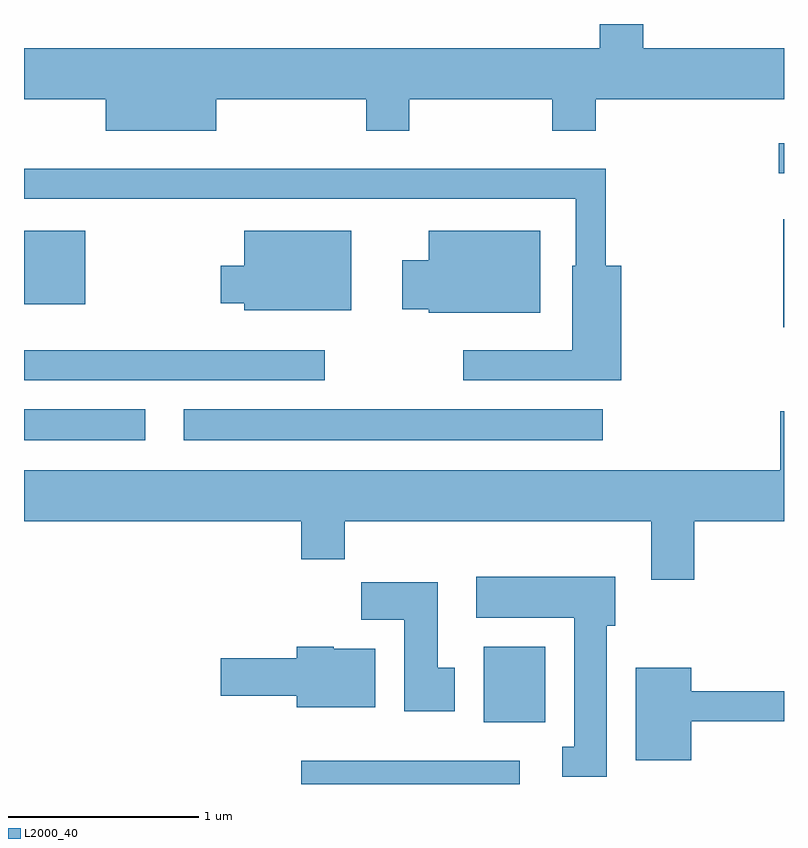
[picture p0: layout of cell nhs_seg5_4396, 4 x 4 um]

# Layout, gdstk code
import gdstk
lib = gdstk.Library(unit=1e-6, precision=1e-09)
def R(c, l, rs):  # rectangles x0, y0, x1, y1
    for r in rs: c.add(gdstk.rectangle(r[:2], r[2:], *l))
def P(c, l, *ps):  # polygons
    for p in ps: c.add(gdstk.Polygon(p, *l))
L2000_40 = (2000, 40)

nhs_seg5_4396 = lib.new_cell('nhs_seg5_4396')
R(nhs_seg5_4396, L2000_40, [(317.071,1462.072,318.219,1462.194), (318.031,1462.396,318.354,1462.794), (315.611,1463.881,316.248,1464.044), (316.453,1463.881,318.658,1464.044), (315.611,1464.196,317.193,1464.354), (319.606,1464.476,319.611,1465.044), (315.611,1464.596,315.934,1464.984), (319.583,1465.286,319.611,1465.444)])
P(nhs_seg5_4396, L2000_40, [(315.611,1465.676),(316.041,1465.676),(316.041,1465.511),(316.624,1465.511),(316.624,1465.676),(317.411,1465.676),(317.411,1465.511),(317.639,1465.511),(317.639,1465.676),(318.391,1465.676),(318.391,1465.511),(318.619,1465.511),(318.619,1465.676),(319.611,1465.676),(319.611,1465.944),(318.869,1465.944),(318.869,1466.072),(318.641,1466.072),(318.641,1465.944),(315.611,1465.944)],
  [(318.754,1464.799),(318.674,1464.799),(318.674,1465.309),(315.611,1465.309),(315.611,1465.151),(318.516,1465.151),(318.516,1464.799),(318.496,1464.799),(318.496,1464.354),(317.923,1464.354),(317.923,1464.196),(318.754,1464.196)],
  [(317.334,1464.984),(316.771,1464.984),(316.771,1464.799),(316.646,1464.799),(316.646,1464.601),(316.771,1464.601),(316.771,1464.566),(317.334,1464.566)],
  [(318.329,1464.984),(317.741,1464.984),(317.741,1464.829),(317.601,1464.829),(317.601,1464.571),(317.741,1464.571),(317.741,1464.551),(318.329,1464.551)],
  [(315.611,1463.456),(317.071,1463.456),(317.071,1463.256),(317.299,1463.256),(317.299,1463.456),(318.911,1463.456),(318.911,1463.146),(319.139,1463.146),(319.139,1463.456),(319.611,1463.456),(319.611,1464.034),(319.591,1464.034),(319.591,1463.724),(315.611,1463.724)],
  [(318.679,1462.906),(318.724,1462.906),(318.724,1463.164),(317.991,1463.164),(317.991,1462.946),(318.506,1462.946),(318.506,1462.269),(318.443,1462.269),(318.443,1462.111),(318.679,1462.111)],
  [(317.879,1462.684),(317.789,1462.684),(317.789,1463.134),(317.386,1463.134),(317.386,1462.936),(317.611,1462.936),(317.611,1462.456),(317.879,1462.456)],
  [(317.459,1462.784),(317.24,1462.784),(317.24,1462.794),(317.046,1462.794),(317.046,1462.734),(316.646,1462.734),(316.646,1462.536),(317.046,1462.536),(317.046,1462.476),(317.459,1462.476)],
  [(319.124,1462.401),(319.611,1462.401),(319.611,1462.559),(319.124,1462.559),(319.124,1462.684),(318.831,1462.684),(318.831,1462.196),(319.124,1462.196)])

lib.write_gds('nhs_seg5_4396.gds')
